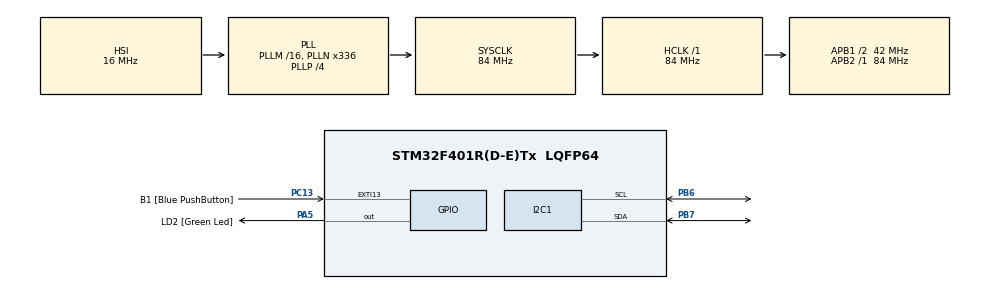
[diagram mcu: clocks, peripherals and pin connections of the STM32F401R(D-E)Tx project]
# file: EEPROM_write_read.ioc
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I2C1.I2C_Mode=I2C_Fast
Mcu.Family=STM32F4
Mcu.Name=STM32F401R(D-E)Tx
Mcu.Package=LQFP64
NVIC.PriorityGroup=NVIC_PRIORITYGROUP_0
PA13.GPIO_Label=TMS
PA13.Signal=SYS_JTMS-SWDIO
PA14.GPIO_Label=TCK
PA14.Signal=SYS_JTCK-SWCLK
PA2.GPIO_Label=USART_TX
PA2.GPIO_Mode=GPIO_MODE_AF_PP
PA2.GPIO_PuPd=GPIO_NOPULL
PA2.GPIO_Speed=GPIO_SPEED_FREQ_LOW
PA2.Signal=USART2_TX
PA3.GPIO_Label=USART_RX
PA3.GPIO_Mode=GPIO_MODE_AF_PP
PA3.GPIO_PuPd=GPIO_NOPULL
PA3.GPIO_Speed=GPIO_SPEED_FREQ_LOW
PA3.Signal=USART2_RX
PA5.GPIO_Label=LD2 [Green Led]
PA5.GPIO_Mode=GPIO_MODE_OUTPUT_PP
PA5.GPIO_PuPd=GPIO_NOPULL
PA5.GPIO_Speed=GPIO_SPEED_FREQ_LOW
PA5.Signal=GPIO_Output
PB3.GPIO_Label=SWO
PB3.Signal=SYS_JTDO-SWO
PB6.Mode=I2C
PB6.Signal=I2C1_SCL
PB7.Mode=I2C
PB7.Signal=I2C1_SDA
PC13-ANTI_TAMP.GPIO_Label=B1 [Blue PushButton]
PC13-ANTI_TAMP.GPIO_ModeDefaultEXTI=GPIO_MODE_IT_FALLING
PC13-ANTI_TAMP.GPIO_PuPd=GPIO_NOPULL
PC13-ANTI_TAMP.Signal=GPXTI13
PC14-OSC32_IN.Signal=RCC_OSC32_IN
PC15-OSC32_OUT.Signal=RCC_OSC32_OUT
PH0\ -\ OSC_IN.Signal=RCC_OSC_IN
PH1\ -\ OSC_OUT.Signal=RCC_OSC_OUT
ProjectManager.HeapSize=0x200
ProjectManager.StackSize=0x400
ProjectManager.TargetToolchain=STM32CubeIDE
RCC.AHBFreq_Value=84000000
RCC.APB1CLKDivider=RCC_HCLK_DIV2
RCC.APB1Freq_Value=42000000
RCC.APB1TimFreq_Value=84000000
RCC.APB2Freq_Value=84000000
RCC.APB2TimFreq_Value=84000000
RCC.CortexFreq_Value=84000000
RCC.HCLKFreq_Value=84000000
RCC.HSE_VALUE=8000000
RCC.HSI_VALUE=16000000
RCC.LSE_VALUE=32768
RCC.PLLN=336
RCC.PLLP=RCC_PLLP_DIV4
RCC.PLLQ=7
RCC.SYSCLKFreq_VALUE=84000000
RCC.SYSCLKSource=RCC_SYSCLKSOURCE_PLLCLK
RCC.VCOOutputFreq_Value=336000000
board=NUCLEO-F401RE

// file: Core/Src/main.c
/* USER CODE BEGIN Header */
/**
  ******************************************************************************
  * @file           : main.c
  * @brief          : Main program body
  ******************************************************************************
  * @attention
  *
  * Copyright (c) 2024 STMicroelectronics.
  * All rights reserved.
  *
  * This software is licensed under terms that can be found in the LICENSE file
  * in the root directory of this software component.
  * If no LICENSE file comes with this software, it is provided AS-IS.
  *
  ******************************************************************************
  */
/* USER CODE END Header */
#include "main.h"

/* USER CODE BEGIN Includes */
#include "string.h"
#include "stdio.h"
#include "Math.h"

/* USER CODE END Includes */

I2C_HandleTypeDef hi2c1;

/* USER CODE BEGIN PV */
#define EEPROM_ADDRESS 0xA8

#define PAGE_SIZE 32     // in Bytes
#define PAGE_NUM  128    // number of pages

/* USER CODE END PV */

void SystemClock_Config(void);
static void MX_GPIO_Init(void);
static void MX_I2C1_Init(void);
/* USER CODE BEGIN PFP */
void writeToEEPROM(uint8_t *, uint16_t, uint8_t);

void readFromEEPROM(uint8_t *, uint16_t, uint8_t);

/* USER CODE END PFP */

/* USER CODE BEGIN 0 */

static  uint16_t memPointer;

int st = 0;

typedef struct {
    int member1;
    char member2;
    char member3[2];
} StructureA;

typedef struct {
    uint8_t member1;
    char member2;
} StructureB;

/* USER CODE END 0 */

int main(void)
{

  /* MCU Configuration--------------------------------------------------------*/

  /* Reset of all peripherals, Initializes the Flash interface and the Systick. */
  HAL_Init();

  /* Configure the system clock */
  SystemClock_Config();

  /* Initialize all configured peripherals */
  MX_GPIO_Init();
  MX_I2C1_Init();
  /* USER CODE BEGIN 2 */

  StructureA a = {1, 'A', "Hi"};
  StructureB b = {2, 'B'};
  StructureB c = {3, 'C'};
  unsigned char byteArrayofStructureA[sizeof(StructureA)] = {0};
  unsigned char byteArrayofStructureB[sizeof(StructureB)] = {0};
  unsigned char byteArrayofStructureC[sizeof(StructureB)] = {0};

  memcpy(byteArrayofStructureA, &a, sizeof(StructureA));
  memcpy(byteArrayofStructureB, &b, sizeof(StructureB));
  memcpy(byteArrayofStructureC, &c, sizeof(StructureB));

  uint8_t PAGE=0;
  uint8_t offset=0;

  uint8_t paddrposition = log(PAGE_SIZE)/log(2);

  memPointer = PAGE<<(paddrposition)|offset;

  uint8_t information[20];
  uint8_t info[40];

  StructureA resultA;

  StructureB resultB;

  StructureB resultC;

  uint8_t size1 = sizeof(byteArrayofStructureA);
  uint8_t size2 = sizeof(byteArrayofStructureB);
  uint8_t size3 = sizeof(byteArrayofStructureC);

  uint16_t startingMemoryAddress1 = memPointer;
  uint16_t startingMemoryAddress2 = memPointer + size1;
  uint16_t startingMemoryAddress3 = memPointer + size1 + size2;

  uint8_t informationA[size1];
  uint8_t informationB[size2];
  uint8_t informationC[size3];

  HAL_StatusTypeDef eeproRet = HAL_I2C_IsDeviceReady(&hi2c1, EEPROM_ADDRESS, 2, 1000);
  if(eeproRet==HAL_OK)
  {
	writeToEEPROM(&byteArrayofStructureA, startingMemoryAddress1, size1);

//  	startingMemoryAddress2 = memPointer;

  	writeToEEPROM(&byteArrayofStructureB, startingMemoryAddress2, size2);

//  	startingMemoryAddress3 = memPointer;

 	writeToEEPROM(&byteArrayofStructureC, startingMemoryAddress3, size3);

  	readFromEEPROM(informationA, startingMemoryAddress1, size1);

  	readFromEEPROM(informationB, startingMemoryAddress2, size2);

  	readFromEEPROM(informationC, startingMemoryAddress3, size3);

  	readFromEEPROM(info, startingMemoryAddress1,40);

  	memcpy(&resultA, informationA, sizeof(StructureA));
  	memcpy(&resultB, informationB, sizeof(StructureB));
  	memcpy(&resultC, informationC, sizeof(StructureB));

  }

  /* USER CODE END 2 */

  /* Infinite loop */
  while (1)
  {

  }
}

void SystemClock_Config(void)
{
  RCC_OscInitTypeDef RCC_OscInitStruct = {0};
  RCC_ClkInitTypeDef RCC_ClkInitStruct = {0};

  /** Configure the main internal regulator output voltage
  */
  __HAL_RCC_PWR_CLK_ENABLE();
  __HAL_PWR_VOLTAGESCALING_CONFIG(PWR_REGULATOR_VOLTAGE_SCALE2);

  /** Initializes the RCC Oscillators according to the specified parameters
  * in the RCC_OscInitTypeDef structure.
  */
  RCC_OscInitStruct.OscillatorType = RCC_OSCILLATORTYPE_HSI;
  RCC_OscInitStruct.HSIState = RCC_HSI_ON;
  RCC_OscInitStruct.HSICalibrationValue = RCC_HSICALIBRATION_DEFAULT;
  RCC_OscInitStruct.PLL.PLLState = RCC_PLL_ON;
  RCC_OscInitStruct.PLL.PLLSource = RCC_PLLSOURCE_HSI;
  RCC_OscInitStruct.PLL.PLLM = 16;
  RCC_OscInitStruct.PLL.PLLN = 336;
  RCC_OscInitStruct.PLL.PLLP = RCC_PLLP_DIV4;
  RCC_OscInitStruct.PLL.PLLQ = 7;
  if (HAL_RCC_OscConfig(&RCC_OscInitStruct) != HAL_OK)
  {
    Error_Handler();
  }

  /** Initializes the CPU, AHB and APB buses clocks
  */
  RCC_ClkInitStruct.ClockType = RCC_CLOCKTYPE_HCLK|RCC_CLOCKTYPE_SYSCLK
                              |RCC_CLOCKTYPE_PCLK1|RCC_CLOCKTYPE_PCLK2;
  RCC_ClkInitStruct.SYSCLKSource = RCC_SYSCLKSOURCE_PLLCLK;
  RCC_ClkInitStruct.AHBCLKDivider = RCC_SYSCLK_DIV1;
  RCC_ClkInitStruct.APB1CLKDivider = RCC_HCLK_DIV2;
  RCC_ClkInitStruct.APB2CLKDivider = RCC_HCLK_DIV1;

  if (HAL_RCC_ClockConfig(&RCC_ClkInitStruct, FLASH_LATENCY_2) != HAL_OK)
  {
    Error_Handler();
  }
}

static void MX_I2C1_Init(void)
{

  hi2c1.Instance = I2C1;
  hi2c1.Init.ClockSpeed = 400000;
  hi2c1.Init.DutyCycle = I2C_DUTYCYCLE_2;
  hi2c1.Init.OwnAddress1 = 0;
  hi2c1.Init.AddressingMode = I2C_ADDRESSINGMODE_7BIT;
  hi2c1.Init.DualAddressMode = I2C_DUALADDRESS_DISABLE;
  hi2c1.Init.OwnAddress2 = 0;
  hi2c1.Init.GeneralCallMode = I2C_GENERALCALL_DISABLE;
  hi2c1.Init.NoStretchMode = I2C_NOSTRETCH_DISABLE;
  if (HAL_I2C_Init(&hi2c1) != HAL_OK)
  {
    Error_Handler();
  }

}

static void MX_GPIO_Init(void)
{
  GPIO_InitTypeDef GPIO_InitStruct = {0};

  /* GPIO Ports Clock Enable */
  __HAL_RCC_GPIOC_CLK_ENABLE();
  __HAL_RCC_GPIOH_CLK_ENABLE();
  __HAL_RCC_GPIOA_CLK_ENABLE();
  __HAL_RCC_GPIOB_CLK_ENABLE();

  /*Configure GPIO pin Output Level */
  HAL_GPIO_WritePin(LD2_GPIO_Port, LD2_Pin, GPIO_PIN_RESET);

  /*Configure GPIO pin : B1_Pin */
  GPIO_InitStruct.Pin = B1_Pin;
  GPIO_InitStruct.Mode = GPIO_MODE_IT_FALLING;
  GPIO_InitStruct.Pull = GPIO_NOPULL;
  HAL_GPIO_Init(B1_GPIO_Port, &GPIO_InitStruct);

  /*Configure GPIO pins : USART_TX_Pin USART_RX_Pin */
  GPIO_InitStruct.Pin = USART_TX_Pin|USART_RX_Pin;
  GPIO_InitStruct.Mode = GPIO_MODE_AF_PP;
  GPIO_InitStruct.Pull = GPIO_NOPULL;
  GPIO_InitStruct.Speed = GPIO_SPEED_FREQ_LOW;
  GPIO_InitStruct.Alternate = GPIO_AF7_USART2;
  HAL_GPIO_Init(GPIOA, &GPIO_InitStruct);

  /*Configure GPIO pin : LD2_Pin */
  GPIO_InitStruct.Pin = LD2_Pin;
  GPIO_InitStruct.Mode = GPIO_MODE_OUTPUT_PP;
  GPIO_InitStruct.Pull = GPIO_NOPULL;
  GPIO_InitStruct.Speed = GPIO_SPEED_FREQ_LOW;
  HAL_GPIO_Init(LD2_GPIO_Port, &GPIO_InitStruct);

}

/* USER CODE BEGIN 4 */

void readFromEEPROM(uint8_t *info, uint16_t startingMemoryAddress,uint8_t size)
{
	uint16_t pos=0;

	HAL_I2C_Mem_Read(&hi2c1, EEPROM_ADDRESS, startingMemoryAddress, 2, &info[pos], size, 1000);

}

void writeToEEPROM(uint8_t *dataPointer, uint16_t startingMemoryAddress, uint8_t sizeOfData)
{
	uint16_t currentMemoryAddress = startingMemoryAddress;
	uint16_t bytesRemaining = sizeOfData;

	while(bytesRemaining > 0)
	{

		// Calculate the amount of data that can be written on current Page
		uint16_t remainingBytesOnPage = PAGE_SIZE - (currentMemoryAddress % PAGE_SIZE);

		//Calculate the amount of bytes to write
		uint16_t sizeOfDataToWrite = (remainingBytesOnPage > bytesRemaining)? bytesRemaining:remainingBytesOnPage;

		HAL_StatusTypeDef writeRet = HAL_I2C_Mem_Write(&hi2c1, EEPROM_ADDRESS, currentMemoryAddress, 2, (uint8_t*)(dataPointer), sizeOfDataToWrite, 1000);

		HAL_Delay(5);

		if (writeRet != HAL_OK)
		{

			st=1;
			break;
		}

		bytesRemaining -= sizeOfDataToWrite;

		dataPointer += sizeOfDataToWrite;

		currentMemoryAddress += sizeOfDataToWrite;

		if((currentMemoryAddress % PAGE_SIZE) == 0)
		{
			currentMemoryAddress = (((currentMemoryAddress/PAGE_SIZE)+1)*PAGE_SIZE);
		}

	}

//	memPointer += sizeOfData;
}

/* USER CODE END 4 */

void Error_Handler(void)
{
  __disable_irq();
  while (1)
  {
  }
}
